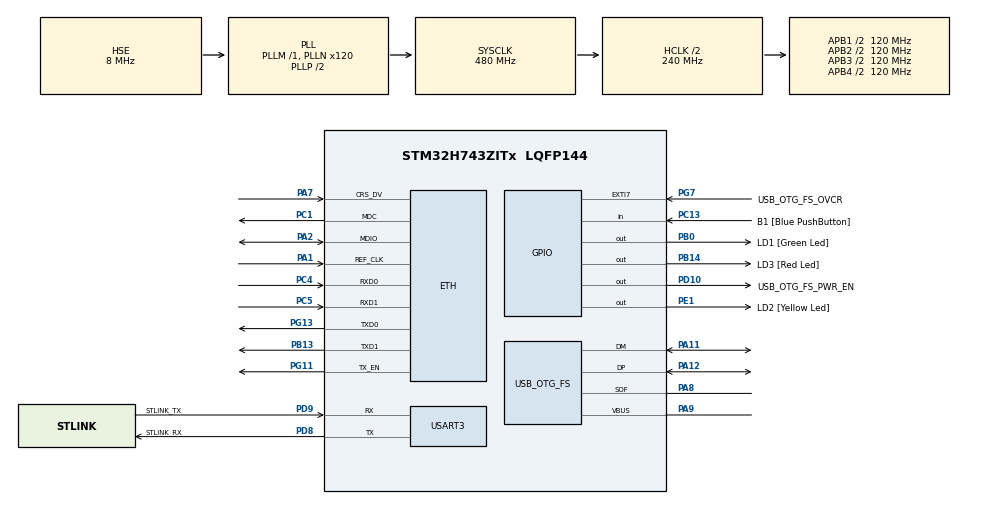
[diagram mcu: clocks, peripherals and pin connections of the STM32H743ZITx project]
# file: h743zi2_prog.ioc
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CORTEX_M7.CPU_DCache=Enabled
CORTEX_M7.CPU_ICache=Enabled
ETH.MediaInterface=HAL_ETH_RMII_MODE
Mcu.Family=STM32H7
Mcu.Name=STM32H743ZITx
Mcu.Package=LQFP144
NVIC.PriorityGroup=NVIC_PRIORITYGROUP_4
PA1.Mode=RMII
PA1.Signal=ETH_REF_CLK
PA11.Mode=Device_Only
PA11.Signal=USB_OTG_FS_DM
PA12.Mode=Device_Only
PA12.Signal=USB_OTG_FS_DP
PA2.Mode=RMII
PA2.Signal=ETH_MDIO
PA7.Mode=RMII
PA7.Signal=ETH_CRS_DV
PA8.Mode=Activate_SOF_FS
PA8.Signal=USB_OTG_FS_SOF
PA9.Mode=Activate_VBUS
PA9.Signal=USB_OTG_FS_VBUS
PB0.GPIO_Label=LD1 [Green Led]
PB0.Signal=GPIO_Output
PB13.Mode=RMII
PB13.Signal=ETH_TXD1
PB14.GPIO_Label=LD3 [Red Led]
PB14.Signal=GPIO_Output
PC1.Mode=RMII
PC1.Signal=ETH_MDC
PC13.GPIO_Label=B1 [Blue PushButton]
PC13.Signal=GPIO_Input
PC14-OSC32_IN\ (OSC32_IN).Mode=LSE-External-Oscillator
PC14-OSC32_IN\ (OSC32_IN).Signal=RCC_OSC32_IN
PC15-OSC32_OUT\ (OSC32_OUT).Mode=LSE-External-Oscillator
PC15-OSC32_OUT\ (OSC32_OUT).Signal=RCC_OSC32_OUT
PC4.Mode=RMII
PC4.Signal=ETH_RXD0
PC5.Mode=RMII
PC5.Signal=ETH_RXD1
PD10.GPIO_Label=USB_OTG_FS_PWR_EN
PD10.Signal=GPIO_Output
PD8.GPIO_Label=STLINK_RX
PD8.Mode=Asynchronous
PD8.Signal=USART3_TX
PD9.GPIO_Label=STLINK_TX
PD9.Mode=Asynchronous
PD9.Signal=USART3_RX
PE1.GPIO_Label=LD2 [Yellow Led]
PE1.Signal=GPIO_Output
PG11.Mode=RMII
PG11.Signal=ETH_TX_EN
PG13.Mode=RMII
PG13.Signal=ETH_TXD0
PG7.GPIO_Label=USB_OTG_FS_OVCR
PG7.Signal=GPXTI7
PH0-OSC_IN\ (PH0).Mode=HSE-External-Clock-Source
PH0-OSC_IN\ (PH0).Signal=RCC_OSC_IN
PH1-OSC_OUT\ (PH1).Signal=RCC_OSC_OUT
ProjectManager.HeapSize=0x200
ProjectManager.StackSize=0x400
ProjectManager.TargetToolchain=STM32CubeIDE
RCC.ADCFreq_Value=16125000
RCC.APB1Freq_Value=120000000
RCC.APB2Freq_Value=120000000
RCC.APB3Freq_Value=120000000
RCC.APB4Freq_Value=120000000
RCC.CortexFreq_Value=480000000
RCC.D1PPRE=RCC_APB3_DIV2
RCC.D2PPRE1=RCC_APB1_DIV2
RCC.D2PPRE2=RCC_APB2_DIV2
RCC.D3PPRE=RCC_APB4_DIV2
RCC.DIVM1=1
RCC.DIVN1=120
RCC.DIVQ1=4
RCC.HCLKFreq_Value=240000000
RCC.HPRE=RCC_HCLK_DIV2
RCC.HSE_VALUE=8000000
RCC.PLLFRACN=0
RCC.PLLSourceVirtual=RCC_PLLSOURCE_HSE
RCC.SYSCLKFreq_VALUE=480000000
RCC.SYSCLKSource=RCC_SYSCLKSOURCE_PLLCLK
RCC.USBCLockSelection=RCC_USBCLKSOURCE_HSI48
RCC.USBFreq_Value=48000000
USART3.VirtualMode-Asynchronous=VM_ASYNC
USB_OTG_FS.VirtualMode=Device_Only
board=NUCLEO-H743ZI2

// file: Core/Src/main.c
/* USER CODE BEGIN Header */
/**
  ******************************************************************************
  * @file           : main.c
  * @brief          : Main program body
  ******************************************************************************
  * @attention
  *
  * <h2><center>&copy; Copyright (c) 2020 STMicroelectronics.
  * All rights reserved.</center></h2>
  *
  * This software component is licensed by ST under BSD 3-Clause license,
  * the "License"; You may not use this file except in compliance with the
  * License. You may obtain a copy of the License at:
  *                        opensource.org/licenses/BSD-3-Clause
  *
  ******************************************************************************
  */
/* USER CODE END Header */

#include "main.h"
#include "string.h"

#if defined ( __ICCARM__ ) /*!< IAR Compiler */

#pragma location=0x30040000
ETH_DMADescTypeDef  DMARxDscrTab[ETH_RX_DESC_CNT]; /* Ethernet Rx DMA Descriptors */
#pragma location=0x30040060
ETH_DMADescTypeDef  DMATxDscrTab[ETH_TX_DESC_CNT]; /* Ethernet Tx DMA Descriptors */
#pragma location=0x30040200
uint8_t Rx_Buff[ETH_RX_DESC_CNT][ETH_MAX_PACKET_SIZE]; /* Ethernet Receive Buffers */

#elif defined ( __CC_ARM )  /* MDK ARM Compiler */

__attribute__((at(0x30040000))) ETH_DMADescTypeDef  DMARxDscrTab[ETH_RX_DESC_CNT]; /* Ethernet Rx DMA Descriptors */
__attribute__((at(0x30040060))) ETH_DMADescTypeDef  DMATxDscrTab[ETH_TX_DESC_CNT]; /* Ethernet Tx DMA Descriptors */
__attribute__((at(0x30040200))) uint8_t Rx_Buff[ETH_RX_DESC_CNT][ETH_MAX_PACKET_SIZE]; /* Ethernet Receive Buffer */

#elif defined ( __GNUC__ ) /* GNU Compiler */

ETH_DMADescTypeDef DMARxDscrTab[ETH_RX_DESC_CNT] __attribute__((section(".RxDecripSection"))); /* Ethernet Rx DMA Descriptors */
ETH_DMADescTypeDef DMATxDscrTab[ETH_TX_DESC_CNT] __attribute__((section(".TxDecripSection")));   /* Ethernet Tx DMA Descriptors */
uint8_t Rx_Buff[ETH_RX_DESC_CNT][ETH_MAX_PACKET_SIZE] __attribute__((section(".RxArraySection"))); /* Ethernet Receive Buffers */

#endif

ETH_TxPacketConfig TxConfig;

ETH_HandleTypeDef heth;

UART_HandleTypeDef huart3;

PCD_HandleTypeDef hpcd_USB_OTG_FS;

void SystemClock_Config(void);
static void MX_GPIO_Init(void);
static void MX_ETH_Init(void);
static void MX_USART3_UART_Init(void);
static void MX_USB_OTG_FS_PCD_Init(void);

/* USER CODE BEGIN 0 */
static GPIO_InitTypeDef  GPIO_InitStruct;

#define LOGICGPIO_GROUP  GPIOB
#define LOGICGPIO_PIN    GPIO_PIN_8

void logicgpio_init(void)
{
  GPIO_InitStruct.Mode  = GPIO_MODE_OUTPUT_PP;
  GPIO_InitStruct.Pull  = GPIO_PULLUP;
  GPIO_InitStruct.Speed = GPIO_SPEED_FREQ_VERY_HIGH;
  GPIO_InitStruct.Pin = LOGICGPIO_PIN;
  HAL_GPIO_Init(LOGICGPIO_GROUP, &GPIO_InitStruct);
}

void logicgpio_set(void)
{
    HAL_GPIO_WritePin(LOGICGPIO_GROUP, LOGICGPIO_PIN, GPIO_PIN_SET);
}

void logicgpio_clear(void)
{
    HAL_GPIO_WritePin(LOGICGPIO_GROUP, LOGICGPIO_PIN, GPIO_PIN_RESET);
}

void swap (int *x, int *y) {
  int temp;    // 値を一時保存する変数

  temp = *x;
  *x = *y;
  *y = temp;
}

/***
* pivotを決め、
* 全データをpivotを境目に振り分け、
* pivotの添え字を返す
***/
int partition (int array[], int left, int right) {
  int i, j, pivot;
  i = left;
  j = right + 1;
  pivot = left;   // 先頭要素をpivotとする

  do {
    do { i++; } while (array[i] < array[pivot]);
    do { j--; } while (array[pivot] < array[j]);
    // pivotより小さいものを左へ、大きいものを右へ
    if (i < j) { swap(&array[i], &array[j]); }
  } while (i < j);

  swap(&array[pivot], &array[j]);   //pivotを更新

  return j;
}

/* クイックソート */
void quick_sort (int array[], int left, int right) {
  int pivot;

  if (left < right) {
    pivot = partition(array, left, right);
    quick_sort(array, left, pivot-1);   // pivotを境に再帰的にクイックソート
    quick_sort(array, pivot+1, right);
  }
}

#define ASIZE 24

#if ASIZE == 6
int a[ASIZE]= {2,6,1,3,4,5};
#endif /* ASIZE == 6 */

#if ASIZE == 12
int a[ASIZE]= {2,6,1,3,4,5,4,7,9,0,2,3};
#endif /* ASIZE == 12 */

#if ASIZE == 24
int a[ASIZE]= {2,6,1,3,4,5,4,7,9,0,2,3,7,6,8,12,14,16,32,42,31,24,35,42};
#endif /* ASIZE == 24 */

int b[ASIZE];
/* USER CODE END 0 */

int main(void)
{
  /* USER CODE BEGIN 1 */
  int i;
  /* USER CODE END 1 */

  /* Enable I-Cache---------------------------------------------------------*/
  SCB_EnableICache();

  /* Enable D-Cache---------------------------------------------------------*/
  SCB_EnableDCache();

  /* MCU Configuration--------------------------------------------------------*/

  /* Reset of all peripherals, Initializes the Flash interface and the Systick. */
  HAL_Init();

  /* Configure the system clock */
  SystemClock_Config();

  /* Initialize all configured peripherals */
  MX_GPIO_Init();
  MX_ETH_Init();
  MX_USART3_UART_Init();
  MX_USB_OTG_FS_PCD_Init();
  /* USER CODE BEGIN 2 */
  logicgpio_init();
  /* USER CODE END 2 */

  /* Infinite loop */
  /* USER CODE BEGIN WHILE */
  while (1)
  {
	for (i = 0; i < ASIZE; i++) {
	  b[i] = a[i];
	}
	logicgpio_set();
	quick_sort(b, 0, ASIZE-1);
	logicgpio_clear();
    /* USER CODE END WHILE */

  }
}

void SystemClock_Config(void)
{
  RCC_OscInitTypeDef RCC_OscInitStruct = {0};
  RCC_ClkInitTypeDef RCC_ClkInitStruct = {0};
  RCC_PeriphCLKInitTypeDef PeriphClkInitStruct = {0};

  /** Supply configuration update enable
  */
  HAL_PWREx_ConfigSupply(PWR_LDO_SUPPLY);
  /** Configure the main internal regulator output voltage
  */
  __HAL_PWR_VOLTAGESCALING_CONFIG(PWR_REGULATOR_VOLTAGE_SCALE0);

  while(!__HAL_PWR_GET_FLAG(PWR_FLAG_VOSRDY)) {}
  /** Initializes the CPU, AHB and APB busses clocks
  */
  RCC_OscInitStruct.OscillatorType = RCC_OSCILLATORTYPE_HSI48|RCC_OSCILLATORTYPE_HSE;
  RCC_OscInitStruct.HSEState = RCC_HSE_BYPASS;
  RCC_OscInitStruct.HSI48State = RCC_HSI48_ON;
  RCC_OscInitStruct.PLL.PLLState = RCC_PLL_ON;
  RCC_OscInitStruct.PLL.PLLSource = RCC_PLLSOURCE_HSE;
  RCC_OscInitStruct.PLL.PLLM = 1;
  RCC_OscInitStruct.PLL.PLLN = 120;
  RCC_OscInitStruct.PLL.PLLP = 2;
  RCC_OscInitStruct.PLL.PLLQ = 4;
  RCC_OscInitStruct.PLL.PLLR = 2;
  RCC_OscInitStruct.PLL.PLLRGE = RCC_PLL1VCIRANGE_3;
  RCC_OscInitStruct.PLL.PLLVCOSEL = RCC_PLL1VCOWIDE;
  RCC_OscInitStruct.PLL.PLLFRACN = 0;
  if (HAL_RCC_OscConfig(&RCC_OscInitStruct) != HAL_OK)
  {
    Error_Handler();
  }
  /** Initializes the CPU, AHB and APB busses clocks
  */
  RCC_ClkInitStruct.ClockType = RCC_CLOCKTYPE_HCLK|RCC_CLOCKTYPE_SYSCLK
                              |RCC_CLOCKTYPE_PCLK1|RCC_CLOCKTYPE_PCLK2
                              |RCC_CLOCKTYPE_D3PCLK1|RCC_CLOCKTYPE_D1PCLK1;
  RCC_ClkInitStruct.SYSCLKSource = RCC_SYSCLKSOURCE_PLLCLK;
  RCC_ClkInitStruct.SYSCLKDivider = RCC_SYSCLK_DIV1;
  RCC_ClkInitStruct.AHBCLKDivider = RCC_HCLK_DIV2;
  RCC_ClkInitStruct.APB3CLKDivider = RCC_APB3_DIV2;
  RCC_ClkInitStruct.APB1CLKDivider = RCC_APB1_DIV2;
  RCC_ClkInitStruct.APB2CLKDivider = RCC_APB2_DIV2;
  RCC_ClkInitStruct.APB4CLKDivider = RCC_APB4_DIV2;

  if (HAL_RCC_ClockConfig(&RCC_ClkInitStruct, FLASH_LATENCY_4) != HAL_OK)
  {
    Error_Handler();
  }
  PeriphClkInitStruct.PeriphClockSelection = RCC_PERIPHCLK_USART3|RCC_PERIPHCLK_USB;
  PeriphClkInitStruct.Usart234578ClockSelection = RCC_USART234578CLKSOURCE_D2PCLK1;
  PeriphClkInitStruct.UsbClockSelection = RCC_USBCLKSOURCE_HSI48;
  if (HAL_RCCEx_PeriphCLKConfig(&PeriphClkInitStruct) != HAL_OK)
  {
    Error_Handler();
  }
  /** Enable USB Voltage detector
  */
  HAL_PWREx_EnableUSBVoltageDetector();
}

static void MX_ETH_Init(void)
{

  heth.Instance = ETH;
  heth.Init.MACAddr[0] =   0x00;
  heth.Init.MACAddr[1] =   0x80;
  heth.Init.MACAddr[2] =   0xE1;
  heth.Init.MACAddr[3] =   0x00;
  heth.Init.MACAddr[4] =   0x00;
  heth.Init.MACAddr[5] =   0x00;
  heth.Init.MediaInterface = HAL_ETH_RMII_MODE;
  heth.Init.TxDesc = DMATxDscrTab;
  heth.Init.RxDesc = DMARxDscrTab;
  heth.Init.RxBuffLen = 1524;

  if (HAL_ETH_Init(&heth) != HAL_OK)
  {
    Error_Handler();
  }

  memset(&TxConfig, 0 , sizeof(ETH_TxPacketConfig));
  TxConfig.Attributes = ETH_TX_PACKETS_FEATURES_CSUM | ETH_TX_PACKETS_FEATURES_CRCPAD;
  TxConfig.ChecksumCtrl = ETH_CHECKSUM_IPHDR_PAYLOAD_INSERT_PHDR_CALC;
  TxConfig.CRCPadCtrl = ETH_CRC_PAD_INSERT;

}

static void MX_USART3_UART_Init(void)
{

  huart3.Instance = USART3;
  huart3.Init.BaudRate = 115200;
  huart3.Init.WordLength = UART_WORDLENGTH_8B;
  huart3.Init.StopBits = UART_STOPBITS_1;
  huart3.Init.Parity = UART_PARITY_NONE;
  huart3.Init.Mode = UART_MODE_TX_RX;
  huart3.Init.HwFlowCtl = UART_HWCONTROL_NONE;
  huart3.Init.OverSampling = UART_OVERSAMPLING_16;
  huart3.Init.OneBitSampling = UART_ONE_BIT_SAMPLE_DISABLE;
  huart3.Init.ClockPrescaler = UART_PRESCALER_DIV1;
  huart3.AdvancedInit.AdvFeatureInit = UART_ADVFEATURE_NO_INIT;
  if (HAL_UART_Init(&huart3) != HAL_OK)
  {
    Error_Handler();
  }
  if (HAL_UARTEx_SetTxFifoThreshold(&huart3, UART_TXFIFO_THRESHOLD_1_8) != HAL_OK)
  {
    Error_Handler();
  }
  if (HAL_UARTEx_SetRxFifoThreshold(&huart3, UART_RXFIFO_THRESHOLD_1_8) != HAL_OK)
  {
    Error_Handler();
  }
  if (HAL_UARTEx_DisableFifoMode(&huart3) != HAL_OK)
  {
    Error_Handler();
  }

}

static void MX_USB_OTG_FS_PCD_Init(void)
{

  hpcd_USB_OTG_FS.Instance = USB_OTG_FS;
  hpcd_USB_OTG_FS.Init.dev_endpoints = 9;
  hpcd_USB_OTG_FS.Init.speed = PCD_SPEED_FULL;
  hpcd_USB_OTG_FS.Init.dma_enable = DISABLE;
  hpcd_USB_OTG_FS.Init.phy_itface = PCD_PHY_EMBEDDED;
  hpcd_USB_OTG_FS.Init.Sof_enable = ENABLE;
  hpcd_USB_OTG_FS.Init.low_power_enable = DISABLE;
  hpcd_USB_OTG_FS.Init.lpm_enable = DISABLE;
  hpcd_USB_OTG_FS.Init.battery_charging_enable = ENABLE;
  hpcd_USB_OTG_FS.Init.vbus_sensing_enable = ENABLE;
  hpcd_USB_OTG_FS.Init.use_dedicated_ep1 = DISABLE;
  if (HAL_PCD_Init(&hpcd_USB_OTG_FS) != HAL_OK)
  {
    Error_Handler();
  }

}

static void MX_GPIO_Init(void)
{
  GPIO_InitTypeDef GPIO_InitStruct = {0};

  /* GPIO Ports Clock Enable */
  __HAL_RCC_GPIOC_CLK_ENABLE();
  __HAL_RCC_GPIOH_CLK_ENABLE();
  __HAL_RCC_GPIOA_CLK_ENABLE();
  __HAL_RCC_GPIOB_CLK_ENABLE();
  __HAL_RCC_GPIOD_CLK_ENABLE();
  __HAL_RCC_GPIOG_CLK_ENABLE();
  __HAL_RCC_GPIOE_CLK_ENABLE();

  /*Configure GPIO pin Output Level */
  HAL_GPIO_WritePin(GPIOB, LD1_Pin|LD3_Pin, GPIO_PIN_RESET);

  /*Configure GPIO pin Output Level */
  HAL_GPIO_WritePin(USB_OTG_FS_PWR_EN_GPIO_Port, USB_OTG_FS_PWR_EN_Pin, GPIO_PIN_RESET);

  /*Configure GPIO pin Output Level */
  HAL_GPIO_WritePin(LD2_GPIO_Port, LD2_Pin, GPIO_PIN_RESET);

  /*Configure GPIO pin : B1_Pin */
  GPIO_InitStruct.Pin = B1_Pin;
  GPIO_InitStruct.Mode = GPIO_MODE_INPUT;
  GPIO_InitStruct.Pull = GPIO_NOPULL;
  HAL_GPIO_Init(B1_GPIO_Port, &GPIO_InitStruct);

  /*Configure GPIO pins : LD1_Pin LD3_Pin */
  GPIO_InitStruct.Pin = LD1_Pin|LD3_Pin;
  GPIO_InitStruct.Mode = GPIO_MODE_OUTPUT_PP;
  GPIO_InitStruct.Pull = GPIO_NOPULL;
  GPIO_InitStruct.Speed = GPIO_SPEED_FREQ_LOW;
  HAL_GPIO_Init(GPIOB, &GPIO_InitStruct);

  /*Configure GPIO pin : USB_OTG_FS_PWR_EN_Pin */
  GPIO_InitStruct.Pin = USB_OTG_FS_PWR_EN_Pin;
  GPIO_InitStruct.Mode = GPIO_MODE_OUTPUT_PP;
  GPIO_InitStruct.Pull = GPIO_NOPULL;
  GPIO_InitStruct.Speed = GPIO_SPEED_FREQ_LOW;
  HAL_GPIO_Init(USB_OTG_FS_PWR_EN_GPIO_Port, &GPIO_InitStruct);

  /*Configure GPIO pin : USB_OTG_FS_OVCR_Pin */
  GPIO_InitStruct.Pin = USB_OTG_FS_OVCR_Pin;
  GPIO_InitStruct.Mode = GPIO_MODE_IT_RISING;
  GPIO_InitStruct.Pull = GPIO_NOPULL;
  HAL_GPIO_Init(USB_OTG_FS_OVCR_GPIO_Port, &GPIO_InitStruct);

  /*Configure GPIO pin : LD2_Pin */
  GPIO_InitStruct.Pin = LD2_Pin;
  GPIO_InitStruct.Mode = GPIO_MODE_OUTPUT_PP;
  GPIO_InitStruct.Pull = GPIO_NOPULL;
  GPIO_InitStruct.Speed = GPIO_SPEED_FREQ_LOW;
  HAL_GPIO_Init(LD2_GPIO_Port, &GPIO_InitStruct);

}

void Error_Handler(void)
{
}

/************************ (C) COPYRIGHT STMicroelectronics *****END OF FILE****/
